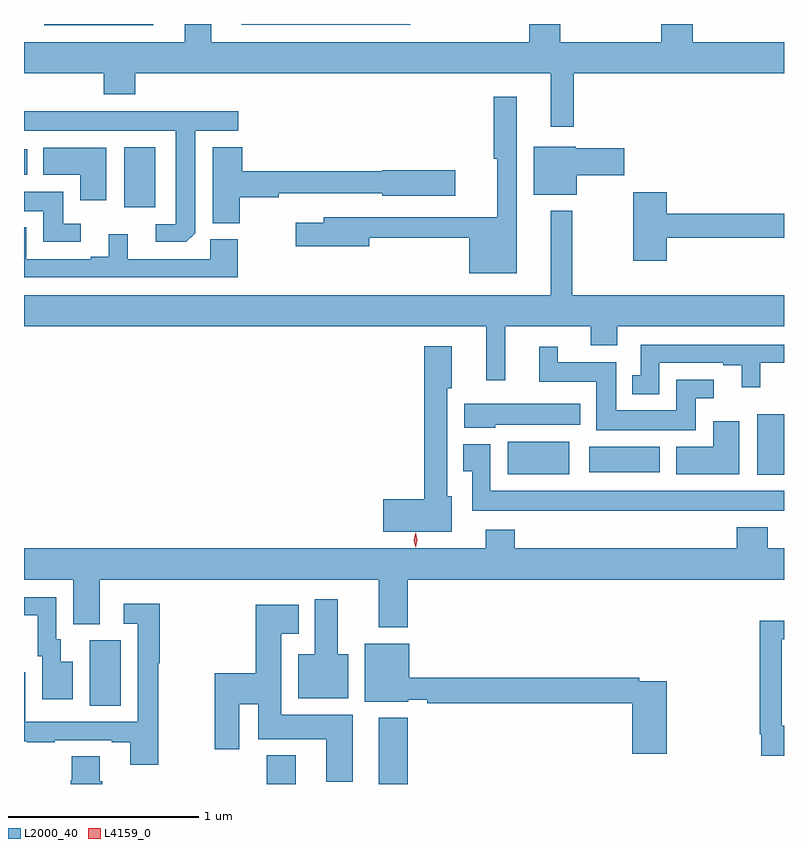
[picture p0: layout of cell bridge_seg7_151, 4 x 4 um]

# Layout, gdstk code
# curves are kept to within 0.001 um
import gdstk
lib = gdstk.Library(unit=1e-6, precision=1e-09)
def R(c, l, rs):  # rectangles x0, y0, x1, y1
    for r in rs: c.add(gdstk.rectangle(r[:2], r[2:], *l))
def P(c, l, *ps):  # polygons
    for p in ps: c.add(gdstk.Polygon(p, *l))
L2000_40 = (2000, 40)
L4159_0 = (4159, 0)

bridge_seg7_151 = lib.new_cell('bridge_seg7_151')
R(bridge_seg7_151, L2000_40, [(540.365,1052.82,540.517,1052.971), (540.953,1052.82,541.106,1053.169), (539.432,1053.232,539.596,1053.576), (542.945,1054.448,543.087,1054.765), (541.634,1054.451,541.957,1054.621), (542.061,1054.46,542.434,1054.594), (539.615,1055.856,539.779,1056.172), (539.087,1056.026,539.104,1056.16), (539.193,1056.813,539.767,1056.82)])
P(bridge_seg7_151, L2000_40, [(541.745,1056.724),(540.072,1056.724),(540.072,1056.82),(539.933,1056.82),(539.933,1056.724),(539.087,1056.724),(539.087,1056.56),(539.507,1056.56),(539.507,1056.449),(539.672,1056.449),(539.672,1056.56),(541.859,1056.56),(541.859,1056.279),(541.981,1056.279),(541.981,1056.56),(543.087,1056.56),(543.087,1056.724),(542.606,1056.724),(542.606,1056.82),(542.441,1056.82),(542.441,1056.724),(541.91,1056.724),(541.91,1056.82),(541.745,1056.82)],
  [(541.121,1056.82),(540.23,1056.82),(540.234,1056.816),(541.121,1056.816)],
  [(541.681,1056.436),(541.56,1056.436),(541.56,1056.111),(541.577,1056.111),(541.577,1055.802),(540.665,1055.802),(540.665,1055.773),(540.516,1055.773),(540.516,1055.651),(540.904,1055.651),(540.904,1055.694),(541.43,1055.694),(541.43,1055.507),(541.681,1055.507)],
  [(539.988,1055.719),(539.989,1056.257),(540.214,1056.257),(540.214,1056.361),(539.087,1056.361),(539.087,1056.257),(539.885,1056.257),(539.885,1055.766),(539.781,1055.766),(539.781,1055.673),(539.942,1055.673)],
  [(541.996,1056.023),(542.245,1056.023),(542.245,1056.165),(541.992,1056.165),(541.992,1056.175),(541.769,1056.175),(541.769,1055.921),(541.996,1055.921)],
  [(540.223,1055.908),(540.428,1055.908),(540.428,1055.928),(540.972,1055.928),(540.972,1055.915),(541.357,1055.915),(541.357,1056.05),(540.972,1056.05),(540.972,1056.044),(540.236,1056.044),(540.236,1056.172),(540.08,1056.172),(540.08,1055.771),(540.223,1055.771)],
  [(539.521,1056.169),(539.189,1056.169),(539.189,1056.026),(539.384,1056.026),(539.384,1055.892),(539.521,1055.892)],
  [(539.386,1055.769),(539.293,1055.769),(539.293,1055.938),(539.087,1055.938),(539.087,1055.834),(539.189,1055.834),(539.189,1055.673),(539.386,1055.673)],
  [(542.471,1055.694),(543.087,1055.694),(543.087,1055.822),(542.471,1055.822),(542.471,1055.935),(542.293,1055.935),(542.293,1055.574),(542.471,1055.574)],
  [(541.619,1055.228),(542.069,1055.228),(542.069,1055.129),(542.209,1055.129),(542.209,1055.228),(543.087,1055.228),(543.087,1055.392),(541.973,1055.392),(541.973,1055.836),(541.859,1055.836),(541.859,1055.392),(539.087,1055.392),(539.087,1055.228),(541.52,1055.228),(541.52,1054.944),(541.619,1054.944)],
  [(540.213,1055.686),(540.066,1055.686),(540.066,1055.583),(539.632,1055.583),(539.632,1055.713),(539.534,1055.713),(539.534,1055.596),(539.438,1055.596),(539.438,1055.583),(539.1,1055.583),(539.1,1055.749),(539.087,1055.749),(539.087,1055.487),(540.213,1055.487)],
  [(542.43,1055.037),(542.768,1055.037),(542.768,1055.025),(542.864,1055.025),(542.864,1054.908),(542.962,1054.908),(542.962,1055.037),(543.087,1055.037),(543.087,1055.133),(542.334,1055.133),(542.334,1054.971),(542.288,1054.971),(542.288,1054.871),(542.43,1054.871)],
  [(541.339,1054.335),(541.315,1054.335),(541.315,1054.902),(541.339,1054.902),(541.339,1055.125),(541.193,1055.125),(541.193,1054.319),(540.978,1054.319),(540.978,1054.148),(541.339,1054.148)],
  [(542.623,1054.851),(542.716,1054.851),(542.716,1054.947),(542.519,1054.947),(542.519,1054.786),(542.203,1054.786),(542.203,1055.041),(541.897,1055.041),(541.897,1055.122),(541.799,1055.122),(541.799,1054.937),(542.099,1054.937),(542.099,1054.682),(542.623,1054.682)],
  [(541.566,1054.712),(542.014,1054.712),(542.014,1054.822),(541.404,1054.822),(541.404,1054.694),(541.566,1054.694)],
  [(542.851,1054.729),(542.714,1054.729),(542.714,1054.594),(542.519,1054.594),(542.519,1054.451),(542.851,1054.451)],
  [(543.087,1054.363),(541.542,1054.363),(541.542,1054.609),(541.4,1054.609),(541.4,1054.465),(541.445,1054.465),(541.445,1054.259),(543.087,1054.259)],
  [(541.106,1053.896),(543.087,1053.896),(543.087,1054.06),(543.002,1054.06),(543.002,1054.171),(542.837,1054.171),(542.837,1054.06),(541.67,1054.06),(541.67,1054.159),(541.517,1054.159),(541.517,1054.06),(539.087,1054.06),(539.087,1053.896),(539.345,1053.896),(539.345,1053.661),(539.485,1053.661),(539.485,1053.896),(540.953,1053.896),(540.953,1053.644),(541.106,1053.644)],
  [(539.344,1053.463),(539.281,1053.463),(539.281,1053.582),(539.256,1053.582),(539.256,1053.804),(539.087,1053.804),(539.087,1053.708),(539.159,1053.708),(539.159,1053.492),(539.183,1053.492),(539.183,1053.267),(539.344,1053.267)],
  [(540.793,1053.502),(540.739,1053.502),(540.739,1053.793),(540.617,1053.793),(540.617,1053.502),(540.53,1053.502),(540.53,1053.272),(540.793,1053.272)],
  [(539.794,1053.456),(539.801,1053.456),(539.801,1053.769),(539.613,1053.769),(539.613,1053.663),(539.685,1053.663),(539.685,1053.147),(539.094,1053.147),(539.094,1053.409),(539.087,1053.409),(539.087,1053.045),(539.101,1053.045),(539.101,1053.039),(539.249,1053.039),(539.249,1053.051),(539.549,1053.051),(539.549,1053.039),(539.645,1053.039),(539.645,1052.922),(539.794,1052.922)],
  [(540.817,1053.184),(540.442,1053.184),(540.442,1053.611),(540.532,1053.611),(540.532,1053.763),(540.308,1053.763),(540.308,1053.404),(540.091,1053.404),(540.091,1053.003),(540.22,1053.003),(540.22,1053.239),(540.32,1053.239),(540.32,1053.056),(540.677,1053.056),(540.677,1052.832),(540.817,1052.832)],
  [(543.087,1053.126),(543.075,1053.126),(543.075,1053.582),(543.087,1053.582),(543.087,1053.68),(542.959,1053.68),(542.959,1053.082),(542.967,1053.082),(542.967,1052.97),(543.087,1052.97)],
  [(542.471,1053.36),(542.324,1053.36),(542.324,1053.38),(541.114,1053.38),(541.114,1053.559),(540.881,1053.559),(540.881,1053.254),(541.11,1053.254),(541.11,1053.264),(541.21,1053.264),(541.21,1053.244),(542.288,1053.244),(542.288,1052.979),(542.471,1052.979)],
  [(539.498,1052.834),(539.485,1052.834),(539.485,1052.966),(539.338,1052.966),(539.338,1052.841),(539.333,1052.841),(539.333,1052.82),(539.498,1052.82)])
P(bridge_seg7_151, L4159_0, [(541.148,1054.065),(541.148,1054.065),(541.138,1054.104),(541.148,1054.143),(541.148,1054.143),(541.148,1054.143),(541.158,1054.104),(541.148,1054.065)])

lib.write_gds('bridge_seg7_151.gds')
